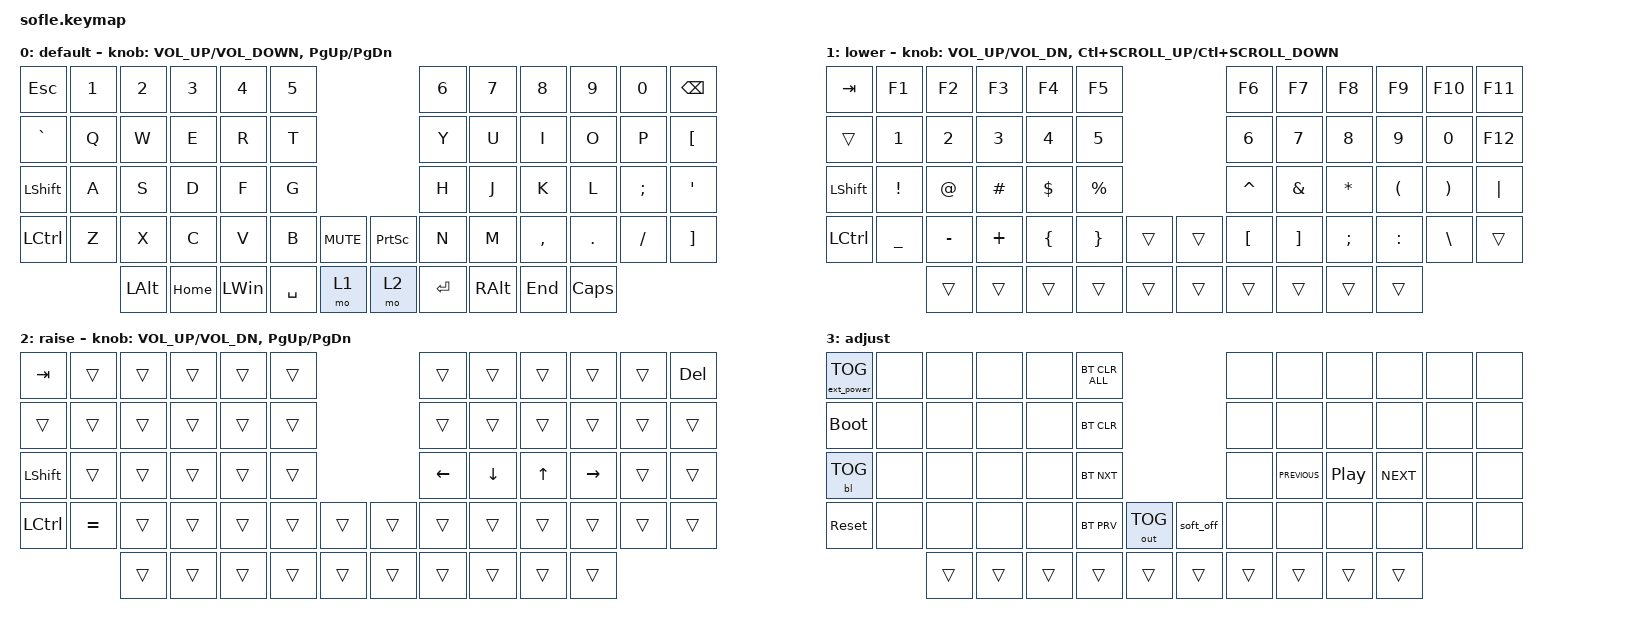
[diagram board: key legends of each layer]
/*
 * Copyright (c) 2020 The ZMK Contributors
 *
 * SPDX-License-Identifier: MIT
 */

#include <behaviors.dtsi>
#include <dt-bindings/zmk/backlight.h>
#include <dt-bindings/zmk/bt.h>
#include <dt-bindings/zmk/ext_power.h>
#include <dt-bindings/zmk/keys.h>
#include <dt-bindings/zmk/outputs.h>

#define BASE 0
#define LOWER 1
#define RAISE 2
#define ADJUST 3

/ {
    // Activate ADJUST layer by pressing raise and lower

    conditional_layers {
        compatible = "zmk,conditional-layers";

        adjust_layer {
            if-layers = <LOWER RAISE>;
            then-layer = <ADJUST>;
        };
    };

    combos { compatible = "zmk,combos"; };

    keymap {
        compatible = "zmk,keymap";

        default_layer {
            display-name = "default";

            // ------------------------------------------------------------------------------------------------------------
            // |   `   |  1  |  2  |  3   |  4   |  5   |                   |  6   |  7    |  8    |  9   |   0   |   =   |
            // |  ESC  |  Q  |  W  |  E   |  R   |  T   |                   |  Y   |  U    |  I    |  O   |   P   |   [   |
            // |  TAB  |  A  |  S  |  D   |  F   |  G   |                   |  H   |  J    |  K    |  L   |   ;   |   ]   |
            // | LCTRL |  Z  |  X  |  C   |  V   |  B   |  MUTE  |  |       |  N   |  M    |  ,    |  .   |   /   |   '   |
            //               | GUI | DEL  |LSHIFT| LOWER|  ENTER |  | SPACE | RAISE|BACKSPC| ALT   | GUI  |

            bindings = <
&kp ESC         &kp N1  &kp N2    &kp N3    &kp N4        &kp N5                                    &kp N6     &kp N7    &kp N8     &kp N9        &kp N0    &kp BACKSPACE
&kp GRAVE       &kp Q   &kp W     &kp E     &kp R         &kp T                                     &kp Y      &kp U     &kp I      &kp O         &kp P     &kp LEFT_BRACKET
&kp LEFT_SHIFT  &kp A   &kp S     &kp D     &kp F         &kp G                                     &kp H      &kp J     &kp K      &kp L         &kp SEMI  &kp SQT
&kp LCTRL       &kp Z   &kp X     &kp C     &kp V         &kp B      &kp C_MUTE    &kp PRINTSCREEN  &kp N      &kp M     &kp COMMA  &kp DOT       &kp FSLH  &kp RBKT
                        &kp LALT  &kp HOME  &kp LEFT_WIN  &kp SPACE  &mo 1         &mo 2            &kp ENTER  &kp RALT  &kp END    &kp CAPSLOCK
            >;

            sensor-bindings =
                <&inc_dec_kp C_VOLUME_UP C_VOLUME_DOWN>,
                <&inc_dec_kp PG_UP PG_DN>;
        };

        lower_layer {
            display-name = "lower";

            // TODO: Some binds are waiting for shifted keycode support.
            // ------------------------------------------------------------------------------------------------------------
            // |       |  F1 |  F2 |  F3  |  F4  |  F5  |                   |  F6  |  F7   |  F8   |  F9  |  F10  |  F11  |
            // |   `   |  1  |  2  |  3   |  4   |  5   |                   |  6   |  7    |  8    |  9   |   0   |  F12  |
            // |       |  !  |  @  |  #   |  $   |  %   |                   |  ^   |  &    |  *    |  (   |   )   |   |   |
            // |       |  =  |  -  |  +   |  {   |  }   |        |  |       |  [   |  ]    |  ;    |  :   |   \   |       |
            //               |     |      |      |      |        |  |       |      |       |       |      |

            bindings = <
&kp TAB         &kp F1          &kp F2     &kp F3    &kp F4    &kp F5                       &kp F6     &kp F7    &kp F8     &kp F9     &kp F10   &kp F11
&trans          &kp N1          &kp N2     &kp N3    &kp N4    &kp N5                       &kp N6     &kp N7    &kp N8     &kp N9     &kp N0    &kp F12
&kp LEFT_SHIFT  &kp EXCL        &kp AT     &kp HASH  &kp DLLR  &kp PRCNT                    &kp CARET  &kp AMPS  &kp ASTRK  &kp LPAR   &kp RPAR  &kp PIPE
&kp LCTRL       &kp UNDERSCORE  &kp MINUS  &kp PLUS  &kp LBRC  &kp RBRC   &trans    &trans  &kp LBKT   &kp RBKT  &kp SEMI   &kp COLON  &kp BSLH  &trans
                                &trans     &trans    &trans    &trans     &trans    &trans  &trans     &trans    &trans     &trans
            >;

            sensor-bindings =
                <&inc_dec_kp C_VOL_UP C_VOL_DN>,
                <&inc_dec_kp LC(K_SCROLL_UP) LC(K_SCROLL_DOWN)>;
        };

        raise_layer {
            display-name = "raise";

            // ------------------------------------------------------------------------------------------------------------
            // | BTCLR | BT1  | BT2  |  BT3  |  BT4  |  BT5 |                |      |      |       |      |       |       |
            // |       | INS  | PSCR | GUI   |       |      |                | PGUP |      |   ^   |      |       |       |
            // |       | ALT  | CTRL | SHIFT |       | CAPS |                | PGDN |   <- |   v   |  ->  |  DEL  | BKSPC |
            // |       | UNDO | CUT  | COPY  | PASTE |      |      |  |      |      |      |       |      |       |       |
            //                |      |       |       |      |      |  |      |      |      |       |      |

            bindings = <
&kp TAB         &trans     &trans  &trans  &trans  &trans                    &trans    &trans    &trans  &trans     &trans  &kp DELETE
&trans          &trans     &trans  &trans  &trans  &trans                    &trans    &trans    &trans  &trans     &trans  &trans
&kp LEFT_SHIFT  &trans     &trans  &trans  &trans  &trans                    &kp LEFT  &kp DOWN  &kp UP  &kp RIGHT  &trans  &trans
&kp LCTRL       &kp EQUAL  &trans  &trans  &trans  &trans  &trans    &trans  &trans    &trans    &trans  &trans     &trans  &trans
                           &trans  &trans  &trans  &trans  &trans    &trans  &trans    &trans    &trans  &trans
            >;

            sensor-bindings =
                <&inc_dec_kp C_VOL_UP C_VOL_DN>,
                <&inc_dec_kp PG_UP PG_DN>;
        };

        adjust_layer {
            // ----------------------------------------------------------------------------------------------------------------------------
            // | BTCLR  |  BT1    |  BT2    |   BT3   |   BT4   |   BT5   |                  |      |      |       |      |       |       |
            // | EXTPWR | RGB_HUD | RGB_HUI | RGB_SAD | RGB_SAI | RGB_EFF |                  |      |      |       |      |       |       |
            // |        | RGB_BRD | RGB_BRI |         |         |         |                  |      |      |       |      |       |       |
            // |        |         |         |         |         |         | RGB_TOG | |      |      |      |       |      |       |       |
            //                    |         |         |         |         |         | |      |      |      |       |      |

            display-name = "adjust";
            bindings = <
&ext_power EP_TOG  &none  &none   &none   &none   &bt BT_CLR_ALL                             &none   &none           &none             &none       &none  &none
&bootloader        &none  &none   &none   &none   &bt BT_CLR                                 &none   &none           &none             &none       &none  &none
&bl BL_TOG         &none  &none   &none   &none   &bt BT_NXT                                 &none   &kp C_PREVIOUS  &kp C_PLAY_PAUSE  &kp C_NEXT  &none  &none
&sys_reset         &none  &none   &none   &none   &bt BT_PRV      &out OUT_TOG    &soft_off  &none   &none           &none             &none       &none  &none
                          &trans  &trans  &trans  &trans          &trans          &trans     &trans  &trans          &trans            &trans
            >;
        };
    };
};
